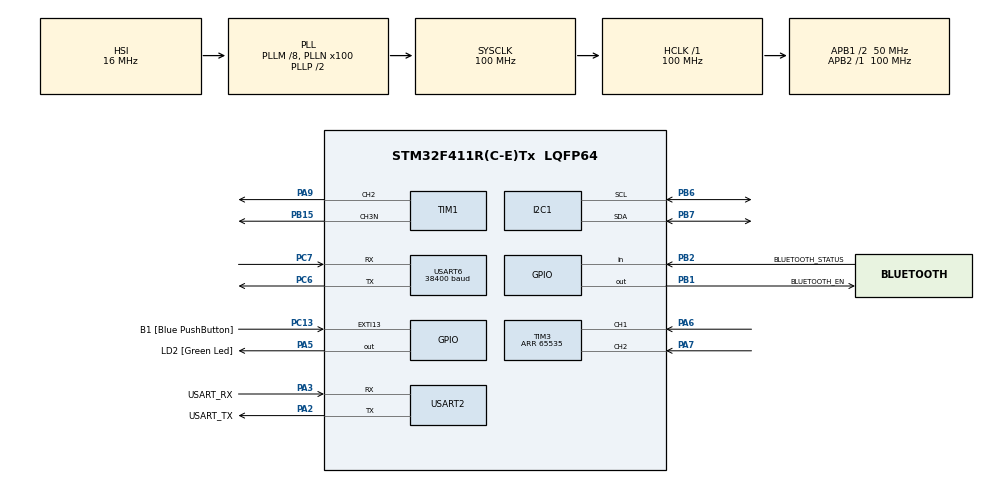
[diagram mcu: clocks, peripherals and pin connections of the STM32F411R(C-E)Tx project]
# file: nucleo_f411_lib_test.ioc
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Mcu.Family=STM32F4
Dma.USART6_TX.1.MemInc=DMA_MINC_ENABLE
RCC.CortexFreq_Value=100000000
NVIC.I2C1_EV_IRQn=true\:0\:0\:false\:false\:true\:true\:true
Dma.USART6_TX.1.PeriphDataAlignment=DMA_PDATAALIGN_BYTE
PA14.GPIO_Label=TCK
TIM3.EncoderMode=TIM_ENCODERMODE_TI12
PB15.Signal=TIM1_CH3N
Dma.USART6_TX.1.MemDataAlignment=DMA_MDATAALIGN_BYTE
RCC.SYSCLKSource=RCC_SYSCLKSOURCE_PLLCLK
ProjectManager.StackSize=0x400
Dma.USART6_RX.0.Instance=DMA2_Stream1
Dma.USART6_RX.0.FIFOMode=DMA_FIFOMODE_DISABLE
PH0\ -\ OSC_IN.Signal=RCC_OSC_IN
Dma.USART6_RX.0.Direction=DMA_PERIPH_TO_MEMORY
RCC.HCLKFreq_Value=100000000
RCC.APB2TimFreq_Value=100000000
TIM3.Period=65535
PB6.Signal=I2C1_SCL
PC7.Signal=USART6_RX
PB6.Mode=I2C
RCC.AHBFreq_Value=100000000
RCC.HSE_VALUE=8000000
PB2.Signal=GPIO_Input
PC13-ANTI_TAMP.Signal=GPXTI13
PC14-OSC32_IN.Mode=LSE-External-Oscillator
PA14.Mode=Serial_Wire
PB1.GPIO_Label=BLUETOOTH_EN
PB7.Signal=I2C1_SDA
SH.S_TIM3_CH1.0=TIM3_CH1,Encoder_Interface
NVIC.I2C1_ER_IRQn=true\:0\:0\:false\:false\:true\:true\:true
Dma.USART6_TX.1.PeriphInc=DMA_PINC_DISABLE
RCC.FLatency-AdvancedSettings=FLASH_LATENCY_3
Mcu.Package=LQFP64
PA6.Signal=S_TIM3_CH1
PB1.Signal=GPIO_Output
USART2.VirtualMode=VM_ASYNC
USART6.VirtualMode=VM_ASYNC
PA2.GPIO_Label=USART_TX
Dma.USART6_RX.0.Mode=DMA_NORMAL
USART6.BaudRate=38400
Dma.USART6_RX.0.MemDataAlignment=DMA_MDATAALIGN_BYTE
Dma.Request1=USART6_TX
RCC.APB1TimFreq_Value=100000000
Dma.USART6_TX.1.FIFOMode=DMA_FIFOMODE_DISABLE
Dma.Request0=USART6_RX
PA3.Signal=USART2_RX
PB3.GPIO_Label=SWO
PC15-OSC32_OUT.Mode=LSE-External-Oscillator
Dma.USART6_TX.1.Instance=DMA2_Stream6
Dma.USART6_RX.0.PeriphInc=DMA_PINC_DISABLE
PC13-ANTI_TAMP.GPIO_Label=B1 [Blue PushButton]
PC6.Signal=USART6_TX
NVIC.DMA2_Stream1_IRQn=true\:0\:0\:false\:false\:true\:false\:true
RCC.APB1CLKDivider=RCC_HCLK_DIV2
PC14-OSC32_IN.Signal=RCC_OSC32_IN
NVIC.USART6_IRQn=true\:0\:0\:false\:false\:true\:true\:true
PA13.Signal=SYS_JTMS-SWDIO
PA3.Mode=Asynchronous
ProjectManager.TargetToolchain=STM32CubeIDE
I2C1.I2C_Mode=I2C_Fast
PC6.Mode=Asynchronous
PA9.Signal=S_TIM1_CH2
TIM1.Channel-PWM\ Generation2\ CH2=TIM_CHANNEL_2
Dma.USART6_TX.1.Priority=DMA_PRIORITY_LOW
NVIC.DMA2_Stream6_IRQn=true\:0\:0\:false\:false\:true\:false\:true
TIM1.Channel-PWM\ Generation3\ CH3N=TIM_CHANNEL_3
PC15-OSC32_OUT.Signal=RCC_OSC32_OUT
PA5.Signal=GPIO_Output
SH.S_TIM3_CH2.0=TIM3_CH2,Encoder_Interface
PH1\ -\ OSC_OUT.Signal=RCC_OSC_OUT
board=NUCLEO-F411RE
RCC.VCOOutputFreq_Value=200000000
PB15.Mode=PWM Generation3 CH3N
RCC.APB2Freq_Value=100000000
SH.S_TIM1_CH2.0=TIM1_CH2,PWM Generation2 CH2
PA13.Mode=Serial_Wire
Mcu.Name=STM32F411R(C-E)Tx
PA2.Signal=USART2_TX
PA13.GPIO_Label=TMS
Dma.USART6_TX.1.Direction=DMA_MEMORY_TO_PERIPH
RCC.48MHZClocksFreq_Value=50000000
PB3.Signal=SYS_JTDO-SWO
RCC.SYSCLKFreq_VALUE=100000000
Dma.USART6_RX.0.PeriphDataAlignment=DMA_PDATAALIGN_BYTE
PA5.GPIO_Label=LD2 [Green Led]
PC13-ANTI_TAMP.GPIO_ModeDefaultEXTI=GPIO_MODE_IT_FALLING
PB7.Mode=I2C
PA14.Signal=SYS_JTCK-SWCLK
PB2.GPIO_Label=BLUETOOTH_STATUS
ProjectManager.HeapSize=0x200
RCC.HSI_VALUE=16000000
Dma.USART6_RX.0.Priority=DMA_PRIORITY_LOW
NVIC.PriorityGroup=NVIC_PRIORITYGROUP_0
Dma.USART6_RX.0.MemInc=DMA_MINC_ENABLE
RCC.PLLM=8
RCC.PLLN=100
PA2.Mode=Asynchronous
PC7.Mode=Asynchronous
RCC.APB1Freq_Value=50000000
Dma.USART6_TX.1.Mode=DMA_NORMAL
PA3.GPIO_Label=USART_RX
PA7.Signal=S_TIM3_CH2

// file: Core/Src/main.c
/* USER CODE BEGIN Header */
/**
  ******************************************************************************
  * @file           : main.c
  * @brief          : Main program body
  ******************************************************************************
  * @attention
  *
  * <h2><center>&copy; Copyright (c) 2021 STMicroelectronics.
  * All rights reserved.</center></h2>
  *
  * This software component is licensed by ST under BSD 3-Clause license,
  * the "License"; You may not use this file except in compliance with the
  * License. You may obtain a copy of the License at:
  *                        opensource.org/licenses/BSD-3-Clause
  *
  ******************************************************************************
  */
/* USER CODE END Header */
#include "main.h"
#include "dma.h"
#include "i2c.h"
#include "tim.h"
#include "usart.h"
#include "gpio.h"

/* USER CODE BEGIN Includes */

#include <stdio.h>
#include <string.h>

#include "sneak100_motors.h"
#include "sneak100_display.h"
#include "sneak100_proximity.h"
#include "sneak100_bluetooth.h"

/* USER CODE END Includes */

void SystemClock_Config(void);

/* USER CODE BEGIN 0 */

void HAL_UART_RxCpltCallback(UART_HandleTypeDef *huart) {
	Bluetooth_RxCpltCallback(&bluetooth, huart);
}

/* USER CODE END 0 */

int main(void)
{

  /* MCU Configuration--------------------------------------------------------*/

  /* Reset of all peripherals, Initializes the Flash interface and the Systick. */
  HAL_Init();

  /* Configure the system clock */
  SystemClock_Config();

  /* Initialize all configured peripherals */
  MX_GPIO_Init();
  MX_DMA_Init();
  MX_USART2_UART_Init();
  MX_TIM3_Init();
  MX_I2C1_Init();
  MX_USART6_UART_Init();
  MX_TIM1_Init();

  /* Infinite loop */
  /* USER CODE BEGIN WHILE */

  UART_SetActive(&huart2);

  SNEAK100_Motors_Init();
  SNEAK100_Display_Init();
  SNEAK100_ProximitySensors_Init();
  SNEAK100_Bluetooth_Init();

  //Motor_SetBreakMode(&motorFL, MODE_BREAK);

  //Motor_SetPosition(&motorFL, 5);

  setvbuf(stdin, NULL, _IONBF, 0);

  while(1) {

	  //printf("%f\t%f\t%f\t%f\t%f\t", Encoder_GetPosition(&encoderFL), motorFL.pid.output, motorFL.pid.error, motorFL.pid.integral, motorFL.pid.derivative);
	  //printf("%f\t%f\n", Encoder_GetPosition(&encoderFL), Encoder_GetVelocity(&encoderFL));
	  //printf("%f\n", motorFL.pid.delta_time);

	  char buffer[64] = {0};

	  /*UART_SetActive(&huart2);
	  printf("Input: ");
	  scanf("%s", buffer);
	  //printf("%s\n", buffer);

	  UART_SetActive(bluetooth.huart);
	  printf("%s\r\n", buffer);
	  scanf("%s", buffer);

	  UART_SetActive(&huart2);
	  printf("HC-05: %s\n", buffer);*/

	  UART_SetActive(&huart2);

	  if(Bluetooth_IsDataReady(&bluetooth)) {
		  Bluetooth_ReadData(&bluetooth, (uint8_t *)buffer);
		  printf("%s\n", buffer);
	  }

	  //printf("%64s\n", bluetooth.rx_buffer);

	  //printf("%lu\t%lu\n", htim1.Instance->CCR2, htim1.Instance->CCR3);

	  //__Motor_SetPower(&motorFL, Motor_GetPosition(&motorFL));

	  //Motor_Update(&motorFL);

	  //gui.battery_voltage = 0.75f*gui.battery_voltage + 0.25*(7.4f + ((float)(rand()%1000)/1000.f)*(rand()%2 ? 1 : -1));

	  //SNEAK100_Display_Render();

	  //UART_SetActive(&huart2);

	  //printf("Status: %u\n", Bluetooth_GetStatus(&bluetooth));

	  //HAL_Delay(100);

    /* USER CODE END WHILE */

  }
}

void SystemClock_Config(void)
{
  RCC_OscInitTypeDef RCC_OscInitStruct = {0};
  RCC_ClkInitTypeDef RCC_ClkInitStruct = {0};

  /** Configure the main internal regulator output voltage
  */
  __HAL_RCC_PWR_CLK_ENABLE();
  __HAL_PWR_VOLTAGESCALING_CONFIG(PWR_REGULATOR_VOLTAGE_SCALE1);
  /** Initializes the RCC Oscillators according to the specified parameters
  * in the RCC_OscInitTypeDef structure.
  */
  RCC_OscInitStruct.OscillatorType = RCC_OSCILLATORTYPE_HSI;
  RCC_OscInitStruct.HSIState = RCC_HSI_ON;
  RCC_OscInitStruct.HSICalibrationValue = RCC_HSICALIBRATION_DEFAULT;
  RCC_OscInitStruct.PLL.PLLState = RCC_PLL_ON;
  RCC_OscInitStruct.PLL.PLLSource = RCC_PLLSOURCE_HSI;
  RCC_OscInitStruct.PLL.PLLM = 8;
  RCC_OscInitStruct.PLL.PLLN = 100;
  RCC_OscInitStruct.PLL.PLLP = RCC_PLLP_DIV2;
  RCC_OscInitStruct.PLL.PLLQ = 4;
  if (HAL_RCC_OscConfig(&RCC_OscInitStruct) != HAL_OK)
  {
    Error_Handler();
  }
  /** Initializes the CPU, AHB and APB buses clocks
  */
  RCC_ClkInitStruct.ClockType = RCC_CLOCKTYPE_HCLK|RCC_CLOCKTYPE_SYSCLK
                              |RCC_CLOCKTYPE_PCLK1|RCC_CLOCKTYPE_PCLK2;
  RCC_ClkInitStruct.SYSCLKSource = RCC_SYSCLKSOURCE_PLLCLK;
  RCC_ClkInitStruct.AHBCLKDivider = RCC_SYSCLK_DIV1;
  RCC_ClkInitStruct.APB1CLKDivider = RCC_HCLK_DIV2;
  RCC_ClkInitStruct.APB2CLKDivider = RCC_HCLK_DIV1;

  if (HAL_RCC_ClockConfig(&RCC_ClkInitStruct, FLASH_LATENCY_3) != HAL_OK)
  {
    Error_Handler();
  }
}

void Error_Handler(void)
{
  __disable_irq();
  while (1)
  {
  }
}

/************************ (C) COPYRIGHT STMicroelectronics *****END OF FILE****/
